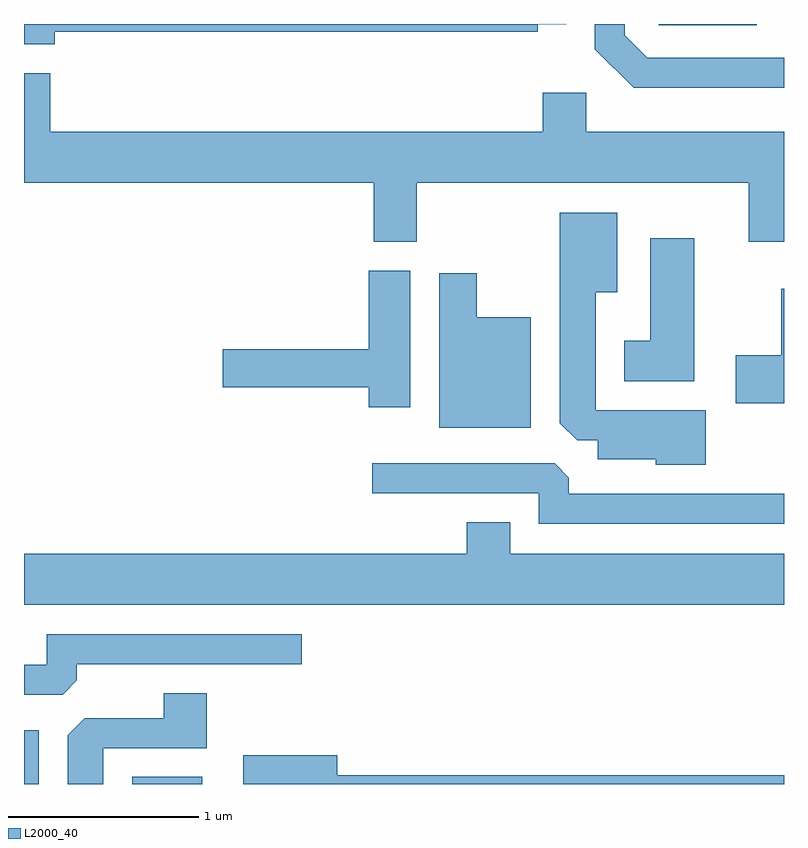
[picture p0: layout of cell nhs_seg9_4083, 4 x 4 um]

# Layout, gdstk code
import gdstk
lib = gdstk.Library(unit=1e-6, precision=1e-09)
def R(c, l, rs):  # rectangles x0, y0, x1, y1
    for r in rs: c.add(gdstk.rectangle(r[:2], r[2:], *l))
def P(c, l, *ps):  # polygons
    for p in ps: c.add(gdstk.Polygon(p, *l))
L2000_40 = (2000, 40)

nhs_seg9_4083 = lib.new_cell('nhs_seg9_4083')
R(nhs_seg9_4083, L2000_40, [(305.611,1986.432,305.689,1986.714), (306.181,1986.432,306.549,1986.469), (308.951,1990.426,309.468,1990.432)])
P(nhs_seg9_4083, L2000_40, [(309.611,1990.254),(308.892,1990.254),(308.774,1990.372),(308.774,1990.432),(308.616,1990.432),(308.616,1990.299),(308.819,1990.096),(309.611,1990.096)],
  [(305.774,1990.391),(308.314,1990.391),(308.314,1990.431),(308.464,1990.431),(308.464,1990.432),(305.611,1990.432),(305.611,1990.326),(305.774,1990.326)],
  [(307.679,1989.596),(309.426,1989.596),(309.426,1989.286),(309.611,1989.286),(309.611,1989.864),(308.569,1989.864),(308.569,1990.069),(308.341,1990.069),(308.341,1989.864),(305.749,1989.864),(305.749,1990.174),(305.611,1990.174),(305.611,1989.596),(307.451,1989.596),(307.451,1989.286),(307.679,1989.286)],
  [(309.199,1988.399),(308.619,1988.399),(308.619,1989.021),(308.734,1989.021),(308.734,1989.439),(308.431,1989.439),(308.431,1988.332),(308.522,1988.241),(308.631,1988.241),(308.631,1988.141),(308.936,1988.141),(308.936,1988.111),(309.199,1988.111)],
  [(309.139,1989.304),(308.906,1989.304),(308.906,1988.764),(308.771,1988.764),(308.771,1988.551),(309.139,1988.551)],
  [(307.644,1989.134),(307.426,1989.134),(307.426,1988.719),(306.656,1988.719),(306.656,1988.521),(307.426,1988.521),(307.426,1988.416),(307.644,1988.416)],
  [(308.279,1988.889),(307.994,1988.889),(307.994,1989.119),(307.796,1989.119),(307.796,1988.306),(308.279,1988.306)],
  [(309.611,1989.039),(309.596,1989.039),(309.596,1988.689),(309.356,1988.689),(309.356,1988.436),(309.611,1988.436)],
  [(309.611,1987.959),(308.479,1987.959),(308.479,1988.044),(308.404,1988.119),(307.443,1988.119),(307.443,1987.961),(308.321,1987.961),(308.321,1987.801),(309.611,1987.801)],
  [(309.611,1987.644),(308.169,1987.644),(308.169,1987.809),(307.941,1987.809),(307.941,1987.644),(305.611,1987.644),(305.611,1987.376),(309.611,1987.376)],
  [(305.889,1986.977),(305.889,1987.061),(307.073,1987.061),(307.073,1987.219),(305.731,1987.219),(305.731,1987.059),(305.611,1987.059),(305.611,1986.901),(305.814,1986.901)],
  [(306.029,1986.621),(306.574,1986.621),(306.574,1986.909),(306.346,1986.909),(306.346,1986.779),(305.932,1986.779),(305.841,1986.689),(305.841,1986.432),(306.029,1986.432)],
  [(309.611,1986.479),(307.259,1986.479),(307.259,1986.584),(306.766,1986.584),(306.766,1986.432),(309.611,1986.432)])

lib.write_gds('nhs_seg9_4083.gds')
